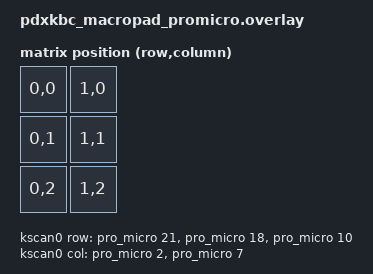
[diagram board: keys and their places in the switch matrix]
#include <dt-bindings/zmk/matrix_transform.h>

/ {
    chosen {
        zmk,kscan = &kscan0;
        zmk,matrix_transform = &default_transform;
    };
    
    kscan0: kscan_0 {
        compatible = "zmk,kscan-gpio-matrix";
        label = "KSCAN";
        diode-direction = "col2row";
        
        col-gpios
            = <&pro_micro 2 GPIO_ACTIVE_HIGH>
            , <&pro_micro 7 GPIO_ACTIVE_HIGH>
            ;
            
        row-gpios
            = <&pro_micro 21 GPIO_ACTIVE_HIGH>
            , <&pro_micro 18 GPIO_ACTIVE_HIGH>
            , <&pro_micro 10 GPIO_ACTIVE_HIGH>
            ;
        
    };
    
    default_transform: keymap_transform_0 {
        compatible = "zmk,matrix-transform";
        columns = <2>;
        rows = <3>;
        
        map = <
            RC(0,0) RC(1,0)
            RC(0,1) RC(1,1)
            RC(0,2) RC(1,2)
        >;
    };
};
